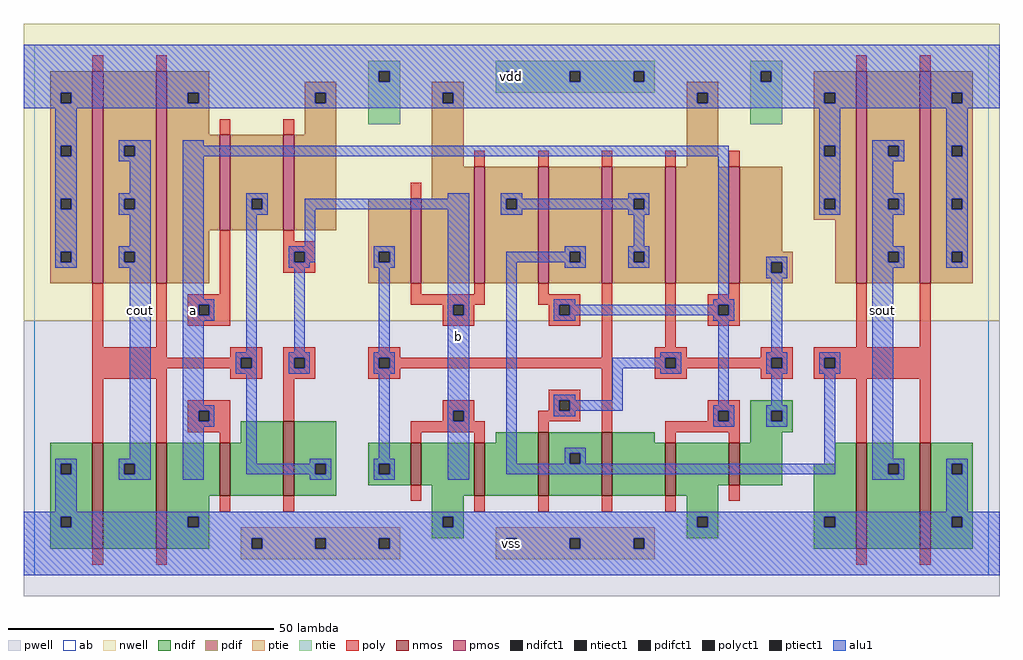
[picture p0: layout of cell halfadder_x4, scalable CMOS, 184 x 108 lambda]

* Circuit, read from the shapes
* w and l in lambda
.subckt halfadder_x4 a b cout sout vdd vss
M1 cout n1 vss vss nfet w=20 l=2 m=2
M2 n2 a vss vss nfet w=10 l=2
M3 n1 b n2 vss nfet w=14 l=2
M4 vss b n3 vss nfet w=8 l=2
M5 n4 b vss vss nfet w=10 l=2
M6 n5 n6 n4 vss nfet w=12 l=2
M7 n7 n3 n5 vss nfet w=12 l=2
M8 vss a n7 vss nfet w=10 l=2
M9 n6 a vss vss nfet w=8 l=2
M10 sout n5 vss vss nfet w=20 l=2 m=2
M11 cout n1 vdd vdd pfet w=40 l=2 m=2
M12 n1 a vdd vdd pfet w=18 l=2
M13 vdd b n1 vdd pfet w=18 l=2
M14 vdd b n3 vdd pfet w=16 l=2
M15 n8 b vdd vdd pfet w=22 l=2
M16 n5 a n8 vdd pfet w=22 l=2
M17 n8 n3 n5 vdd pfet w=22 l=2
M18 vdd n6 n8 vdd pfet w=22 l=2
M19 n6 a vdd vdd pfet w=22 l=2
M20 sout n5 vdd vdd pfet w=40 l=2 m=2
.ends

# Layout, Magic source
magic
tech scmos
<< ab >>
rect 0 0 180 100
<< nwell >>
rect -2 48 182 104
<< pwell >>
rect -2 -4 182 48
<< poly >>
rect 11 95 13 98
rect 23 95 25 98
rect 155 95 157 98
rect 167 95 169 98
rect 35 83 37 86
rect 47 83 49 86
rect 83 77 85 80
rect 95 77 97 80
rect 107 77 109 80
rect 119 77 121 80
rect 131 77 133 80
rect 71 71 73 74
rect 11 43 13 55
rect 23 43 25 55
rect 35 53 37 65
rect 47 63 49 65
rect 47 61 53 63
rect 47 59 49 61
rect 51 59 53 61
rect 47 57 53 59
rect 29 51 37 53
rect 71 53 73 55
rect 83 53 85 55
rect 71 51 85 53
rect 95 53 97 55
rect 95 51 103 53
rect 29 49 31 51
rect 33 49 37 51
rect 29 47 37 49
rect 77 49 79 51
rect 81 49 83 51
rect 77 47 83 49
rect 97 49 99 51
rect 101 49 103 51
rect 97 47 103 49
rect 11 41 25 43
rect 37 41 43 43
rect 11 39 39 41
rect 41 39 43 41
rect 11 37 25 39
rect 37 37 43 39
rect 47 41 53 43
rect 47 39 49 41
rect 51 39 53 41
rect 47 37 53 39
rect 63 41 69 43
rect 107 41 109 55
rect 119 43 121 55
rect 131 53 133 55
rect 127 51 133 53
rect 127 49 129 51
rect 131 49 133 51
rect 127 47 133 49
rect 155 43 157 55
rect 167 43 169 55
rect 63 39 65 41
rect 67 39 109 41
rect 63 37 69 39
rect 11 25 13 37
rect 23 25 25 37
rect 29 31 37 33
rect 29 29 31 31
rect 33 29 37 31
rect 47 29 49 37
rect 97 33 103 35
rect 77 31 83 33
rect 97 31 99 33
rect 101 31 103 33
rect 77 29 79 31
rect 81 29 83 31
rect 95 29 103 31
rect 29 27 37 29
rect 35 25 37 27
rect 71 27 85 29
rect 95 27 97 29
rect 107 27 109 39
rect 117 41 123 43
rect 137 41 143 43
rect 117 39 119 41
rect 121 39 139 41
rect 141 39 143 41
rect 117 37 123 39
rect 137 37 143 39
rect 147 41 169 43
rect 147 39 149 41
rect 151 39 169 41
rect 147 37 169 39
rect 127 31 133 33
rect 127 29 129 31
rect 131 29 133 31
rect 119 27 133 29
rect 71 25 73 27
rect 83 25 85 27
rect 35 12 37 15
rect 47 12 49 15
rect 71 14 73 17
rect 119 25 121 27
rect 131 25 133 27
rect 155 25 157 37
rect 167 25 169 37
rect 83 12 85 15
rect 95 12 97 15
rect 107 12 109 15
rect 119 12 121 15
rect 131 14 133 17
rect 11 2 13 5
rect 23 2 25 5
rect 155 2 157 5
rect 167 2 169 5
<< ndif >>
rect 39 25 47 29
rect 3 21 11 25
rect 3 19 5 21
rect 7 19 11 21
rect 3 11 11 19
rect 3 9 5 11
rect 7 9 11 11
rect 3 5 11 9
rect 13 21 23 25
rect 13 19 17 21
rect 19 19 23 21
rect 13 5 23 19
rect 25 15 35 25
rect 37 15 47 25
rect 49 21 57 29
rect 87 25 95 27
rect 49 19 53 21
rect 55 19 57 21
rect 49 15 57 19
rect 63 21 71 25
rect 63 19 65 21
rect 67 19 71 21
rect 63 17 71 19
rect 73 17 83 25
rect 25 11 33 15
rect 75 15 83 17
rect 85 15 95 25
rect 97 23 107 27
rect 97 21 101 23
rect 103 21 107 23
rect 97 15 107 21
rect 109 25 117 27
rect 135 31 143 33
rect 135 29 139 31
rect 141 29 143 31
rect 135 27 143 29
rect 135 25 141 27
rect 109 15 119 25
rect 121 17 131 25
rect 133 17 141 25
rect 151 21 155 25
rect 121 15 129 17
rect 25 9 29 11
rect 31 9 33 11
rect 75 11 81 15
rect 75 9 77 11
rect 79 9 81 11
rect 123 11 129 15
rect 123 9 125 11
rect 127 9 129 11
rect 25 5 33 9
rect 75 7 81 9
rect 123 7 129 9
rect 147 11 155 21
rect 147 9 149 11
rect 151 9 155 11
rect 147 5 155 9
rect 157 21 167 25
rect 157 19 161 21
rect 163 19 167 21
rect 157 5 167 19
rect 169 21 177 25
rect 169 19 173 21
rect 175 19 177 21
rect 169 11 177 19
rect 169 9 173 11
rect 175 9 177 11
rect 169 5 177 9
<< pdif >>
rect 3 91 11 95
rect 3 89 5 91
rect 7 89 11 91
rect 3 81 11 89
rect 3 79 5 81
rect 7 79 11 81
rect 3 71 11 79
rect 3 69 5 71
rect 7 69 11 71
rect 3 61 11 69
rect 3 59 5 61
rect 7 59 11 61
rect 3 55 11 59
rect 13 81 23 95
rect 13 79 17 81
rect 19 79 23 81
rect 13 71 23 79
rect 13 69 17 71
rect 19 69 23 71
rect 13 61 23 69
rect 13 59 17 61
rect 19 59 23 61
rect 13 55 23 59
rect 25 91 33 95
rect 25 89 29 91
rect 31 89 33 91
rect 25 83 33 89
rect 51 91 57 93
rect 51 89 53 91
rect 55 89 57 91
rect 51 83 57 89
rect 75 91 81 93
rect 123 91 129 93
rect 75 89 77 91
rect 79 89 81 91
rect 25 65 35 83
rect 37 71 47 83
rect 37 69 41 71
rect 43 69 47 71
rect 37 65 47 69
rect 49 65 57 83
rect 75 77 81 89
rect 123 89 125 91
rect 127 89 129 91
rect 123 77 129 89
rect 147 91 155 95
rect 147 89 149 91
rect 151 89 155 91
rect 147 81 155 89
rect 147 79 149 81
rect 151 79 155 81
rect 75 71 83 77
rect 25 55 33 65
rect 63 61 71 71
rect 63 59 65 61
rect 67 59 71 61
rect 63 55 71 59
rect 73 55 83 71
rect 85 71 95 77
rect 85 69 89 71
rect 91 69 95 71
rect 85 55 95 69
rect 97 61 107 77
rect 97 59 101 61
rect 103 59 107 61
rect 97 55 107 59
rect 109 71 119 77
rect 109 69 113 71
rect 115 69 119 71
rect 109 61 119 69
rect 109 59 113 61
rect 115 59 119 61
rect 109 55 119 59
rect 121 55 131 77
rect 133 61 141 77
rect 147 71 155 79
rect 147 69 149 71
rect 151 69 155 71
rect 147 67 155 69
rect 133 59 143 61
rect 133 57 139 59
rect 141 57 143 59
rect 133 55 143 57
rect 151 55 155 67
rect 157 81 167 95
rect 157 79 161 81
rect 163 79 167 81
rect 157 71 167 79
rect 157 69 161 71
rect 163 69 167 71
rect 157 61 167 69
rect 157 59 161 61
rect 163 59 167 61
rect 157 55 167 59
rect 169 91 177 95
rect 169 89 173 91
rect 175 89 177 91
rect 169 81 177 89
rect 169 79 173 81
rect 175 79 177 81
rect 169 71 177 79
rect 169 69 173 71
rect 175 69 177 71
rect 169 61 177 69
rect 169 59 173 61
rect 175 59 177 61
rect 169 55 177 59
<< alu1 >>
rect -2 95 182 100
rect -2 93 65 95
rect 67 93 89 95
rect 91 93 101 95
rect 103 93 113 95
rect 115 93 137 95
rect 139 93 182 95
rect -2 91 182 93
rect -2 89 5 91
rect 7 89 29 91
rect 31 89 53 91
rect 55 89 77 91
rect 79 89 125 91
rect 127 89 149 91
rect 151 89 173 91
rect 175 89 182 91
rect -2 88 182 89
rect 4 81 8 88
rect 4 79 5 81
rect 7 79 8 81
rect 4 71 8 79
rect 16 81 22 82
rect 16 79 17 81
rect 19 79 22 81
rect 16 78 22 79
rect 18 72 22 78
rect 4 69 5 71
rect 7 69 8 71
rect 4 61 8 69
rect 16 71 22 72
rect 16 69 17 71
rect 19 69 22 71
rect 16 68 22 69
rect 18 62 22 68
rect 4 59 5 61
rect 7 59 8 61
rect 4 58 8 59
rect 16 61 22 62
rect 16 59 17 61
rect 19 59 22 61
rect 16 58 22 59
rect 18 22 22 58
rect 4 21 8 22
rect 4 19 5 21
rect 7 19 8 21
rect 4 12 8 19
rect 16 21 22 22
rect 16 19 17 21
rect 19 19 22 21
rect 16 18 22 19
rect 28 81 32 82
rect 148 81 152 88
rect 28 79 131 81
rect 28 52 32 79
rect 40 71 44 72
rect 78 71 82 72
rect 40 69 41 71
rect 43 69 44 71
rect 40 68 44 69
rect 51 69 82 71
rect 28 51 34 52
rect 28 49 31 51
rect 33 49 34 51
rect 28 48 34 49
rect 28 32 32 48
rect 40 42 42 68
rect 51 62 53 69
rect 48 61 53 62
rect 48 59 49 61
rect 51 59 53 61
rect 64 61 68 62
rect 64 59 65 61
rect 67 59 68 61
rect 48 58 52 59
rect 64 58 68 59
rect 49 42 51 58
rect 65 42 67 58
rect 78 51 82 69
rect 88 71 92 72
rect 112 71 116 72
rect 88 69 89 71
rect 91 69 113 71
rect 115 69 116 71
rect 88 68 92 69
rect 112 68 116 69
rect 113 62 115 68
rect 100 61 104 62
rect 78 49 79 51
rect 81 49 82 51
rect 38 41 42 42
rect 38 39 39 41
rect 41 39 42 41
rect 38 38 42 39
rect 48 41 52 42
rect 48 39 49 41
rect 51 39 52 41
rect 48 38 52 39
rect 64 41 68 42
rect 64 39 65 41
rect 67 39 68 41
rect 64 38 68 39
rect 28 31 34 32
rect 28 29 31 31
rect 33 29 34 31
rect 28 28 34 29
rect 28 18 32 28
rect 40 21 42 38
rect 65 22 67 38
rect 78 31 82 49
rect 78 29 79 31
rect 81 29 82 31
rect 52 21 56 22
rect 40 19 53 21
rect 55 19 56 21
rect 52 18 56 19
rect 64 21 68 22
rect 64 19 65 21
rect 67 19 68 21
rect 64 18 68 19
rect 78 18 82 29
rect 89 59 101 61
rect 103 59 104 61
rect 89 21 91 59
rect 100 58 104 59
rect 112 61 116 62
rect 112 59 113 61
rect 115 59 116 61
rect 112 58 116 59
rect 129 52 131 79
rect 148 79 149 81
rect 151 79 152 81
rect 148 71 152 79
rect 148 69 149 71
rect 151 69 152 71
rect 148 68 152 69
rect 158 81 164 82
rect 158 79 161 81
rect 163 79 164 81
rect 158 78 164 79
rect 172 81 176 88
rect 172 79 173 81
rect 175 79 176 81
rect 158 72 162 78
rect 158 71 164 72
rect 158 69 161 71
rect 163 69 164 71
rect 158 68 164 69
rect 172 71 176 79
rect 172 69 173 71
rect 175 69 176 71
rect 158 62 162 68
rect 158 61 164 62
rect 138 59 142 60
rect 138 57 139 59
rect 141 57 142 59
rect 138 56 142 57
rect 158 59 161 61
rect 163 59 164 61
rect 158 58 164 59
rect 172 61 176 69
rect 172 59 173 61
rect 175 59 176 61
rect 172 58 176 59
rect 98 51 102 52
rect 128 51 132 52
rect 98 49 99 51
rect 101 49 129 51
rect 131 49 132 51
rect 98 48 102 49
rect 128 48 132 49
rect 118 41 122 42
rect 109 39 119 41
rect 121 39 122 41
rect 98 33 102 34
rect 109 33 111 39
rect 118 38 122 39
rect 98 31 99 33
rect 101 31 111 33
rect 129 32 131 48
rect 139 42 141 56
rect 138 41 142 42
rect 138 39 139 41
rect 141 39 142 41
rect 138 38 142 39
rect 148 41 152 42
rect 148 39 149 41
rect 151 39 152 41
rect 148 38 152 39
rect 139 32 141 38
rect 128 31 132 32
rect 98 30 102 31
rect 128 29 129 31
rect 131 29 132 31
rect 128 28 132 29
rect 138 31 142 32
rect 138 29 139 31
rect 141 29 142 31
rect 138 28 142 29
rect 100 23 104 24
rect 100 21 101 23
rect 103 21 104 23
rect 149 21 151 38
rect 89 19 151 21
rect 158 22 162 58
rect 158 21 164 22
rect 158 19 161 21
rect 163 19 164 21
rect 158 18 164 19
rect 172 21 176 22
rect 172 19 173 21
rect 175 19 176 21
rect 172 12 176 19
rect -2 11 182 12
rect -2 9 5 11
rect 7 9 29 11
rect 31 9 77 11
rect 79 9 125 11
rect 127 9 149 11
rect 151 9 173 11
rect 175 9 182 11
rect -2 7 182 9
rect -2 5 41 7
rect 43 5 53 7
rect 55 5 65 7
rect 67 5 89 7
rect 91 5 101 7
rect 103 5 113 7
rect 115 5 182 7
rect -2 0 182 5
<< ptie >>
rect 39 7 69 9
rect 87 7 117 9
rect 39 5 41 7
rect 43 5 53 7
rect 55 5 65 7
rect 67 5 69 7
rect 39 3 69 5
rect 87 5 89 7
rect 91 5 101 7
rect 103 5 113 7
rect 115 5 117 7
rect 87 3 117 5
<< ntie >>
rect 63 95 69 97
rect 63 93 65 95
rect 67 93 69 95
rect 87 95 117 97
rect 87 93 89 95
rect 91 93 101 95
rect 103 93 113 95
rect 115 93 117 95
rect 135 95 141 97
rect 135 93 137 95
rect 139 93 141 95
rect 63 85 69 93
rect 87 91 117 93
rect 135 85 141 93
<< nmos >>
rect 11 5 13 25
rect 23 5 25 25
rect 35 15 37 25
rect 47 15 49 29
rect 71 17 73 25
rect 83 15 85 25
rect 95 15 97 27
rect 107 15 109 27
rect 119 15 121 25
rect 131 17 133 25
rect 155 5 157 25
rect 167 5 169 25
<< pmos >>
rect 11 55 13 95
rect 23 55 25 95
rect 35 65 37 83
rect 47 65 49 83
rect 71 55 73 71
rect 83 55 85 77
rect 95 55 97 77
rect 107 55 109 77
rect 119 55 121 77
rect 131 55 133 77
rect 155 55 157 95
rect 167 55 169 95
<< polyct1 >>
rect 49 59 51 61
rect 31 49 33 51
rect 79 49 81 51
rect 99 49 101 51
rect 39 39 41 41
rect 49 39 51 41
rect 129 49 131 51
rect 65 39 67 41
rect 31 29 33 31
rect 99 31 101 33
rect 79 29 81 31
rect 119 39 121 41
rect 139 39 141 41
rect 149 39 151 41
rect 129 29 131 31
<< ndifct1 >>
rect 5 19 7 21
rect 5 9 7 11
rect 17 19 19 21
rect 53 19 55 21
rect 65 19 67 21
rect 101 21 103 23
rect 139 29 141 31
rect 29 9 31 11
rect 77 9 79 11
rect 125 9 127 11
rect 149 9 151 11
rect 161 19 163 21
rect 173 19 175 21
rect 173 9 175 11
<< ntiect1 >>
rect 65 93 67 95
rect 89 93 91 95
rect 101 93 103 95
rect 113 93 115 95
rect 137 93 139 95
<< ptiect1 >>
rect 41 5 43 7
rect 53 5 55 7
rect 65 5 67 7
rect 89 5 91 7
rect 101 5 103 7
rect 113 5 115 7
<< pdifct1 >>
rect 5 89 7 91
rect 5 79 7 81
rect 5 69 7 71
rect 5 59 7 61
rect 17 79 19 81
rect 17 69 19 71
rect 17 59 19 61
rect 29 89 31 91
rect 53 89 55 91
rect 77 89 79 91
rect 41 69 43 71
rect 125 89 127 91
rect 149 89 151 91
rect 149 79 151 81
rect 65 59 67 61
rect 89 69 91 71
rect 101 59 103 61
rect 113 69 115 71
rect 113 59 115 61
rect 149 69 151 71
rect 139 57 141 59
rect 161 79 163 81
rect 161 69 163 71
rect 161 59 163 61
rect 173 89 175 91
rect 173 79 175 81
rect 173 69 175 71
rect 173 59 175 61
<< labels >>
rlabel alu1 30 50 30 50 6 a
rlabel alu1 20 50 20 50 6 cout
rlabel ptiect1 90 6 90 6 6 vss
rlabel alu1 80 45 80 45 6 b
rlabel ntiect1 90 94 90 94 6 vdd
rlabel alu1 160 50 160 50 6 sout
<< end >>
